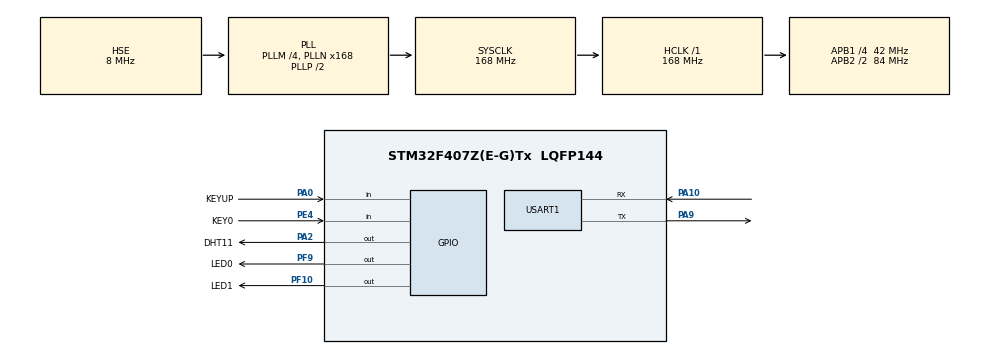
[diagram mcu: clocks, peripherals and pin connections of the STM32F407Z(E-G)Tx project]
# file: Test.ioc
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Mcu.Family=STM32F4
Mcu.Name=STM32F407Z(E-G)Tx
Mcu.Package=LQFP144
NVIC.PriorityGroup=NVIC_PRIORITYGROUP_4
NVIC.USART1_IRQn=true\:0\:0\:false\:false\:true\:true\:true
PA0-WKUP.GPIO_Label=KEYUP
PA0-WKUP.Signal=GPIO_Input
PA10.Mode=Asynchronous
PA10.Signal=USART1_RX
PA13.Mode=Serial_Wire
PA13.Signal=SYS_JTMS-SWDIO
PA14.Mode=Serial_Wire
PA14.Signal=SYS_JTCK-SWCLK
PA2.GPIO_Label=DHT11
PA2.GPIO_Speed=GPIO_SPEED_FREQ_HIGH
PA2.PinState=GPIO_PIN_SET
PA2.Signal=GPIO_Output
PA9.Mode=Asynchronous
PA9.Signal=USART1_TX
PC14-OSC32_IN.Mode=LSE-External-Oscillator
PC14-OSC32_IN.Signal=RCC_OSC32_IN
PC15-OSC32_OUT.Mode=LSE-External-Oscillator
PC15-OSC32_OUT.Signal=RCC_OSC32_OUT
PE4.GPIO_Label=KEY0
PE4.GPIO_PuPd=GPIO_PULLDOWN
PE4.Signal=GPIO_Input
PF10.GPIO_Label=LED1
PF10.PinState=GPIO_PIN_SET
PF10.Signal=GPIO_Output
PF9.GPIO_Label=LED0
PF9.PinState=GPIO_PIN_SET
PF9.Signal=GPIO_Output
PH0-OSC_IN.Mode=HSE-External-Oscillator
PH0-OSC_IN.Signal=RCC_OSC_IN
PH1-OSC_OUT.Mode=HSE-External-Oscillator
PH1-OSC_OUT.Signal=RCC_OSC_OUT
ProjectManager.HeapSize=0x200
ProjectManager.StackSize=0x400
ProjectManager.TargetToolchain=STM32CubeIDE
RCC.48MHZClocksFreq_Value=84000000
RCC.AHBFreq_Value=168000000
RCC.APB1CLKDivider=RCC_HCLK_DIV4
RCC.APB1Freq_Value=42000000
RCC.APB1TimFreq_Value=84000000
RCC.APB2CLKDivider=RCC_HCLK_DIV2
RCC.APB2Freq_Value=84000000
RCC.APB2TimFreq_Value=168000000
RCC.CortexFreq_Value=168000000
RCC.HCLKFreq_Value=168000000
RCC.HSE_VALUE=8000000
RCC.HSI_VALUE=16000000
RCC.PLLM=4
RCC.PLLN=168
RCC.PLLSourceVirtual=RCC_PLLSOURCE_HSE
RCC.SYSCLKFreq_VALUE=168000000
RCC.SYSCLKSource=RCC_SYSCLKSOURCE_PLLCLK
RCC.VCOOutputFreq_Value=336000000
TIM6.Period=1
TIM6.Prescaler=84-1
USART1.VirtualMode=VM_ASYNC
VP_TIM6_VS_ClockSourceINT.Mode=Enable_Timer
board=custom

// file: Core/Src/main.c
/* USER CODE BEGIN Header */
/**
  ******************************************************************************
  * @file           : main.c
  * @brief          : Main program body
  ******************************************************************************
  * @attention
  *
  * Copyright (c) 2022 STMicroelectronics.
  * All rights reserved.
  *
  * This software is licensed under terms that can be found in the LICENSE file
  * in the root directory of this software component.
  * If no LICENSE file comes with this software, it is provided AS-IS.
  *
  ******************************************************************************
  */
/* USER CODE END Header */
#include "main.h"
#include "tim.h"
#include "usart.h"
#include "gpio.h"

/* USER CODE BEGIN Includes */
#include "../../icode/led/led.h"
#include "../../icode/key/key.h"
#include "../../icode/uart/uart.h"
#include "../../icode/delay/delay.h"
#include "../../icode/dht11/dht11.h"
#include "usart.h"
#include "retarget.h"

/* USER CODE END Includes */

void SystemClock_Config(void);

int main(void)
{
  /* USER CODE BEGIN 1 */
  uint8_t DHT11_BUF[2] = {0};
  /* USER CODE END 1 */

  /* MCU Configuration--------------------------------------------------------*/

  /* Reset of all peripherals, Initializes the Flash interface and the Systick. */
  HAL_Init();

  /* Configure the system clock */
  SystemClock_Config();

  /* Initialize all configured peripherals */
  MX_GPIO_Init();
  MX_USART1_UART_Init();
  MX_TIM6_Init();
  /* USER CODE BEGIN 2 */
  RetargetInit(&huart1);	//重定向初始化串口1
  HAL_UART_Receive_IT(&huart1, (uint8_t *)&USART1_NewData, 1);	//单片机上电时，接收中断默认关闭，�??要我们手动打�??4444444444444444444444
  HAL_Delay(500);
  DHT11_Init();
  HAL_Delay(1000);
  DHT11_ReadData(DHT11_BUF);
  //  HAL_UART_Receive_IT(&huart1,(uint8_t *)UART1_temp,REC_LENGTH);
  /* USER CODE END 2 */

  /* Infinite loop */
  /* USER CODE BEGIN WHILE */
  while (1)
  {
	 DHT11_ReadData(DHT11_BUF);
	 printf("Humi:%02d Temp:%02d\r\n",DHT11_BUF[0],DHT11_BUF[1]);
	 HAL_Delay(1500);
	//UART_LEDControl();
    /* USER CODE END WHILE */

  }
}

void SystemClock_Config(void)
{
  RCC_OscInitTypeDef RCC_OscInitStruct = {0};
  RCC_ClkInitTypeDef RCC_ClkInitStruct = {0};

  /** Configure the main internal regulator output voltage
  */
  __HAL_RCC_PWR_CLK_ENABLE();
  __HAL_PWR_VOLTAGESCALING_CONFIG(PWR_REGULATOR_VOLTAGE_SCALE1);
  /** Initializes the RCC Oscillators according to the specified parameters
  * in the RCC_OscInitTypeDef structure.
  */
  RCC_OscInitStruct.OscillatorType = RCC_OSCILLATORTYPE_HSE;
  RCC_OscInitStruct.HSEState = RCC_HSE_ON;
  RCC_OscInitStruct.PLL.PLLState = RCC_PLL_ON;
  RCC_OscInitStruct.PLL.PLLSource = RCC_PLLSOURCE_HSE;
  RCC_OscInitStruct.PLL.PLLM = 4;
  RCC_OscInitStruct.PLL.PLLN = 168;
  RCC_OscInitStruct.PLL.PLLP = RCC_PLLP_DIV2;
  RCC_OscInitStruct.PLL.PLLQ = 4;
  if (HAL_RCC_OscConfig(&RCC_OscInitStruct) != HAL_OK)
  {
    Error_Handler();
  }
  /** Initializes the CPU, AHB and APB buses clocks
  */
  RCC_ClkInitStruct.ClockType = RCC_CLOCKTYPE_HCLK|RCC_CLOCKTYPE_SYSCLK
                              |RCC_CLOCKTYPE_PCLK1|RCC_CLOCKTYPE_PCLK2;
  RCC_ClkInitStruct.SYSCLKSource = RCC_SYSCLKSOURCE_PLLCLK;
  RCC_ClkInitStruct.AHBCLKDivider = RCC_SYSCLK_DIV1;
  RCC_ClkInitStruct.APB1CLKDivider = RCC_HCLK_DIV4;
  RCC_ClkInitStruct.APB2CLKDivider = RCC_HCLK_DIV2;

  if (HAL_RCC_ClockConfig(&RCC_ClkInitStruct, FLASH_LATENCY_5) != HAL_OK)
  {
    Error_Handler();
  }
}

void Error_Handler(void)
{
  __disable_irq();
  while (1)
  {
  }
}
